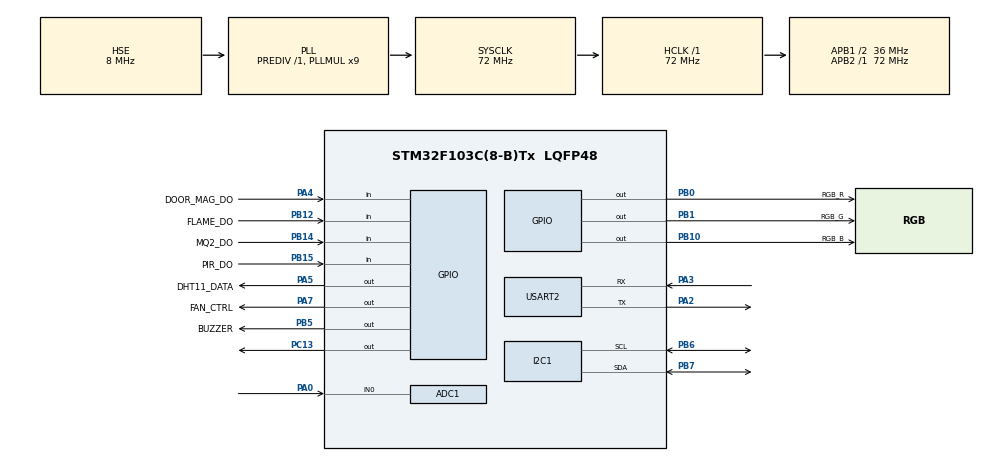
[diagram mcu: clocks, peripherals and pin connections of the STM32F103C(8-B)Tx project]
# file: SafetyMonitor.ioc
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ADC1.Channel-0\#ChannelRegularConversion=ADC_CHANNEL_0
ADC1.NbrOfConversionFlag=1
ADC1.Rank-0\#ChannelRegularConversion=1
ADC1.SamplingTime-0\#ChannelRegularConversion=ADC_SAMPLETIME_55CYCLES_5
ADC1.master=1
Mcu.Family=STM32F1
Mcu.Name=STM32F103C(8-B)Tx
Mcu.Package=LQFP48
NVIC.PriorityGroup=NVIC_PRIORITYGROUP_4
PA0-WKUP.Signal=ADCx_IN0
PA13.Mode=Serial_Wire
PA13.Signal=SYS_JTMS-SWDIO
PA14.Mode=Serial_Wire
PA14.Signal=SYS_JTCK-SWCLK
PA2.Mode=Asynchronous
PA2.Signal=USART2_TX
PA3.Mode=Asynchronous
PA3.Signal=USART2_RX
PA4.GPIO_Label=DOOR_MAG_DO
PA4.GPIO_PuPd=GPIO_PULLUP
PA4.Signal=GPIO_Input
PA5.GPIO_Label=DHT11_DATA
PA5.GPIO_ModeDefaultOutputPP=GPIO_MODE_OUTPUT_OD
PA5.GPIO_PuPd=GPIO_PULLUP
PA5.GPIO_Speed=GPIO_SPEED_FREQ_MEDIUM
PA5.PinState=GPIO_PIN_SET
PA5.Signal=GPIO_Output
PA7.GPIO_Label=FAN_CTRL
PA7.GPIO_ModeDefaultOutputPP=GPIO_MODE_OUTPUT_PP
PA7.GPIO_PuPd=GPIO_NOPULL
PA7.GPIO_Speed=GPIO_SPEED_FREQ_LOW
PA7.PinState=GPIO_PIN_RESET
PA7.Signal=GPIO_Output
PB0.GPIO_Label=RGB_R
PB0.Signal=GPIO_Output
PB1.GPIO_Label=RGB_G
PB1.Signal=GPIO_Output
PB10.GPIO_Label=RGB_B
PB10.Signal=GPIO_Output
PB12.GPIO_Label=FLAME_DO
PB12.GPIO_PuPd=GPIO_PULLUP
PB12.Signal=GPIO_Input
PB14.GPIO_Label=MQ2_DO
PB14.GPIO_PuPd=GPIO_PULLUP
PB14.Signal=GPIO_Input
PB15.GPIO_Label=PIR_DO
PB15.GPIO_PuPd=GPIO_PULLDOWN
PB15.Signal=GPIO_Input
PB5.GPIO_Label=BUZZER
PB5.GPIO_ModeDefaultOutputPP=GPIO_MODE_OUTPUT_PP
PB5.GPIO_PuPd=GPIO_NOPULL
PB5.GPIO_Speed=GPIO_SPEED_FREQ_LOW
PB5.PinState=GPIO_PIN_SET
PB5.Signal=GPIO_Output
PB6.Mode=I2C
PB6.Signal=I2C1_SCL
PB7.Mode=I2C
PB7.Signal=I2C1_SDA
PC13-TAMPER-RTC.Signal=GPIO_Output
PD0-OSC_IN.Mode=HSE-External-Oscillator
PD0-OSC_IN.Signal=RCC_OSC_IN
PD1-OSC_OUT.Mode=HSE-External-Oscillator
PD1-OSC_OUT.Signal=RCC_OSC_OUT
ProjectManager.HeapSize=0x200
ProjectManager.StackSize=0x400
ProjectManager.TargetToolchain=MDK-ARM V5.32
RCC.ADCPresc=RCC_ADCPCLK2_DIV6
RCC.AHBFreq_Value=72000000
RCC.APB1CLKDivider=RCC_HCLK_DIV2
RCC.APB1Freq_Value=36000000
RCC.APB1TimFreq_Value=72000000
RCC.APB2Freq_Value=72000000
RCC.APB2TimFreq_Value=72000000
RCC.HCLKFreq_Value=72000000
RCC.PLLMUL=RCC_PLL_MUL9
RCC.PLLSourceVirtual=RCC_PLLSOURCE_HSE
RCC.SYSCLKFreq_VALUE=72000000
RCC.SYSCLKSource=RCC_SYSCLKSOURCE_PLLCLK
RCC.USBFreq_Value=72000000
SH.ADCx_IN0.0=ADC1_IN0,IN0
TIM2.Period=65535
TIM2.Prescaler=71
USART2.VirtualMode=VM_ASYNC
VP_TIM2_VS_ClockSourceINT.Mode=Internal
board=custom

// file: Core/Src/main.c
/* USER CODE BEGIN Header */
/**
  ******************************************************************************
  * @file           : main.c
  * @brief          : Main program body
  ******************************************************************************
  * @attention
  *
  * Copyright (c) 2026 STMicroelectronics.
  * All rights reserved.
  *
  * This software is licensed under terms that can be found in the LICENSE file
  * in the root directory of this software component.
  * If no LICENSE file comes with this software, it is provided AS-IS.
  *
  ******************************************************************************
  */
/* USER CODE END Header */
#include "main.h"
#include "adc.h"
#include "i2c.h"
#include "tim.h"
#include "usart.h"
#include "gpio.h"

/* USER CODE BEGIN Includes */
#include "bsp_key.h"
#include "bsp_inputs.h"
#include "bsp_outputs.h"
#include "bsp_oled.h"
#include "app_display.h"
#include "app_comm.h"
/* USER CODE END Includes */

/* USER CODE BEGIN PD */
#define P0_ENABLE_BUZZER_TEST 0U
#define P0_ENABLE_FAN_TEST    1U
/* USER CODE END PD */

/* USER CODE BEGIN PV */
static uint16_t s_key_adc = 0U;
static KeyId_t s_key_id = KEY_NONE;
static uint8_t s_flame = 0U;
static uint8_t s_pir = 0U;
static uint8_t s_mq2 = 0U;
static uint8_t s_door = 0U;
static uint8_t s_fan_on = 0U;
static uint32_t s_comm_last_tx_ms = 0U;
/* USER CODE END PV */

void SystemClock_Config(void);

int main(void)
{

  /* MCU Configuration--------------------------------------------------------*/

  /* Reset of all peripherals, Initializes the Flash interface and the Systick. */
  HAL_Init();

  /* Configure the system clock */
  SystemClock_Config();

  /* Initialize all configured peripherals */
  MX_GPIO_Init();
  MX_ADC1_Init();
  MX_I2C1_Init();
  MX_TIM2_Init();
  MX_USART2_UART_Init();
  /* USER CODE BEGIN 2 */
  BSP_Outputs_Init();

  HAL_ADCEx_Calibration_Start(&hadc1);
  BSP_Key_Init();
  BSP_Inputs_Init();

  BSP_OLED_Init();
  AppDisplay_Init();
  AppComm_Init(&huart2);
  /* USER CODE END 2 */

  /* Infinite loop */
  while (1)
  {

    /* USER CODE BEGIN 3 */
    s_key_adc = BSP_Key_ReadAdc();
    s_key_id = BSP_Key_Decode(s_key_adc);

    if (s_key_id == KEY_2)
    {
        s_fan_on = 1U;
    }
    else if (s_key_id == KEY_4)
    {
        s_fan_on = 0U;
    }

    s_flame = BSP_Input_FlameDetected();
    s_pir = BSP_Input_PIRDetected();
    s_mq2 = BSP_Input_MQ2Detected();
    s_door = BSP_Input_DoorOpen();

    AppDisplay_Update(s_key_adc,
                      (uint8_t)s_key_id,
                      s_flame,
                      s_pir,
                      s_mq2,
                      s_door,
                      0U,
                      0U,
                      0U);

    if ((HAL_GetTick() - s_comm_last_tx_ms) >= 3000U)
    {
        s_comm_last_tx_ms = HAL_GetTick();
        (void)AppComm_SendStm32Test();
    }

#if (P0_ENABLE_FAN_TEST)
    BSP_Output_BuzzerOff();
    BSP_Output_RGB(0U, 0U, 0U);
    BSP_Output_RelaySet(0U);
    BSP_Output_FanSet(s_fan_on);
    BSP_Output_PumpSet(0U);
#else
    BSP_Output_AllOff();
#endif

    HAL_Delay(100U);
  }
  /* USER CODE END 3 */
}

void SystemClock_Config(void)
{
  RCC_OscInitTypeDef RCC_OscInitStruct = {0};
  RCC_ClkInitTypeDef RCC_ClkInitStruct = {0};
  RCC_PeriphCLKInitTypeDef PeriphClkInit = {0};

  /** Initializes the RCC Oscillators according to the specified parameters
  * in the RCC_OscInitTypeDef structure.
  */
  RCC_OscInitStruct.OscillatorType = RCC_OSCILLATORTYPE_HSE;
  RCC_OscInitStruct.HSEState = RCC_HSE_ON;
  RCC_OscInitStruct.HSEPredivValue = RCC_HSE_PREDIV_DIV1;
  RCC_OscInitStruct.HSIState = RCC_HSI_ON;
  RCC_OscInitStruct.PLL.PLLState = RCC_PLL_ON;
  RCC_OscInitStruct.PLL.PLLSource = RCC_PLLSOURCE_HSE;
  RCC_OscInitStruct.PLL.PLLMUL = RCC_PLL_MUL9;
  if (HAL_RCC_OscConfig(&RCC_OscInitStruct) != HAL_OK)
  {
    Error_Handler();
  }

  /** Initializes the CPU, AHB and APB buses clocks
  */
  RCC_ClkInitStruct.ClockType = RCC_CLOCKTYPE_HCLK|RCC_CLOCKTYPE_SYSCLK
                              |RCC_CLOCKTYPE_PCLK1|RCC_CLOCKTYPE_PCLK2;
  RCC_ClkInitStruct.SYSCLKSource = RCC_SYSCLKSOURCE_PLLCLK;
  RCC_ClkInitStruct.AHBCLKDivider = RCC_SYSCLK_DIV1;
  RCC_ClkInitStruct.APB1CLKDivider = RCC_HCLK_DIV2;
  RCC_ClkInitStruct.APB2CLKDivider = RCC_HCLK_DIV1;

  if (HAL_RCC_ClockConfig(&RCC_ClkInitStruct, FLASH_LATENCY_2) != HAL_OK)
  {
    Error_Handler();
  }
  PeriphClkInit.PeriphClockSelection = RCC_PERIPHCLK_ADC;
  PeriphClkInit.AdcClockSelection = RCC_ADCPCLK2_DIV6;
  if (HAL_RCCEx_PeriphCLKConfig(&PeriphClkInit) != HAL_OK)
  {
    Error_Handler();
  }
}

void Error_Handler(void)
{
  __disable_irq();
  while (1)
  {
  }
}
